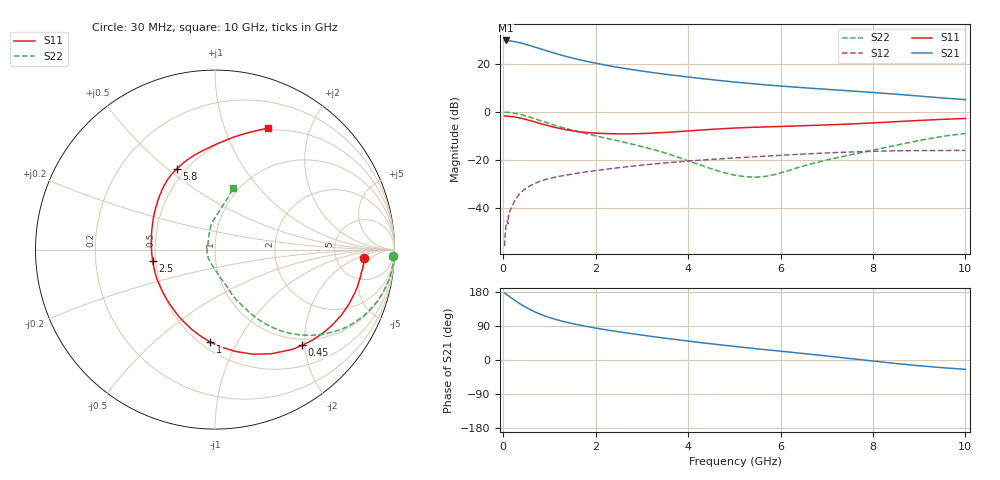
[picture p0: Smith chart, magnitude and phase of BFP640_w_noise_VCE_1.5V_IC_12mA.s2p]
! (c) 2013  Infineon Technologies AG, Munich
! Infineon Technologies  Discrete & RF Semiconductors
! BFP640
! VCE =  1.5 V,  IC =  12 mA
! Common Emitter S-Parameters:  Apr 2013
# GHz  S  MA  R  50
!  f  S11  S21  S12  S22
! GHz  MAG  ANG  MAG  ANG  MAG  ANG  MAG  ANG
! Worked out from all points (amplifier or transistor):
!   99 points, 30 MHz to 10 GHz, reference 50 ohm
!   highest |S21| = 29.9 dB at 50 MHz (marker M1)
!   |S21| within 3 dB of that: start of sweep to 723.6 MHz
!   unconditionally stable (mu >= 1): 3.566 GHz to end of sweep
!   at 350 MHz: K = 0.17, MSG = 31.6 dB, |S12| = -34.2 dB
!   at 3.5 GHz: K = 1.00, MSG = 18.5 dB, |S12| = -21.2 dB
!   at 10 GHz: K = 1.09, MAG = 8.8 dB, |S12| = -16.0 dB
!   lowest NFmin = 0.69 dB at 450 MHz
!   S11 on the Smith chart (normalised r, x): 30 MHz: 10, -3; 450 MHz: 0.87, -1.94; 1 GHz: 0.56, -0.78; 2.5 GHz: 0.48, -0.07; 5.8 GHz: 0.45, +0.54; 10 GHz: 0.47, +1.42
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0.03  0.8307 -3.2  31.2 176.8  0.0016 89.9  0.9932 -1.9
0.05  0.831 -5.6  31.4 175.2  0.0032 84.0  0.9948 -3.5
0.14  0.8177 -15.6  30.81 167.0  0.0082 78.6  0.9831 -10.0
0.25  0.793 -27.4  29.61 157.5  0.0143 77.1  0.9492 -17.6
0.35  0.7602 -37.8  28.2 149.4  0.0194 72.9  0.9059 -24.2
0.45  0.7215 -47.7  26.67 141.9  0.024 68.4  0.8565 -30.0
0.6  0.6594 -61.7  24.22 132.0  0.0298 63.1  0.7738 -37.4
0.7  0.6192 -70.2  22.59 126.3  0.0331 60.0  0.7193 -41.7
0.8  0.5792 -78.5  21.11 121.0  0.0363 57.4  0.6702 -45.2
1  0.5157 -93.0  18.34 112.2  0.0412 53.6  0.5788 -51.2
1.1  0.486 -100.0  17.18 108.3  0.0435 51.8  0.5382 -53.6
1.3  0.4417 -112.2  15.11 101.7  0.0475 49.3  0.4738 -57.3
1.7  0.3859 -134.1  12.13 91.0  0.0551 46.2  0.3752 -62.4
2.1  0.3627 -153.4  10.07 82.2  0.0621 43.6  0.3045 -66.9
2.5  0.3526 -170.0  8.588 74.4  0.0695 41.1  0.2502 -69.9
3.4  0.3729 159.6  6.394 59.2  0.0855 35.4  0.1506 -80.5
4.2  0.4192 139.6  5.148 47.0  0.0986 29.4  0.0832 -104.0
5.1  0.4709 124.0  4.18 34.6  0.1123 22.6  0.047 -160.5
5.8  0.4974 115.1  3.639 25.7  0.1227 17.6  0.0482 146.1
6.7  0.5307 104.7  3.141 14.4  0.1367 10.2  0.0851 113.3
8.5  0.6346 80.7  2.371 -9.3  0.1566 -6.7  0.2037 85.3
10  0.7401 66.3  1.826 -24.6  0.1591 -17.8  0.3598 73.6
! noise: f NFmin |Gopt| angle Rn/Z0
0.45  0.69  0.21  8  0.03
0.9  0.7  0.2  17  0.04
1.5  0.72  0.18  28  0.05
1.9  0.74  0.14  47  0.05
2.4  0.78  0.12  58  0.06
3.5  0.9  0.11  69  0.08
5.5  1.11  0.21  -115  0.11
10  1.67  0.58  -59  0.41
